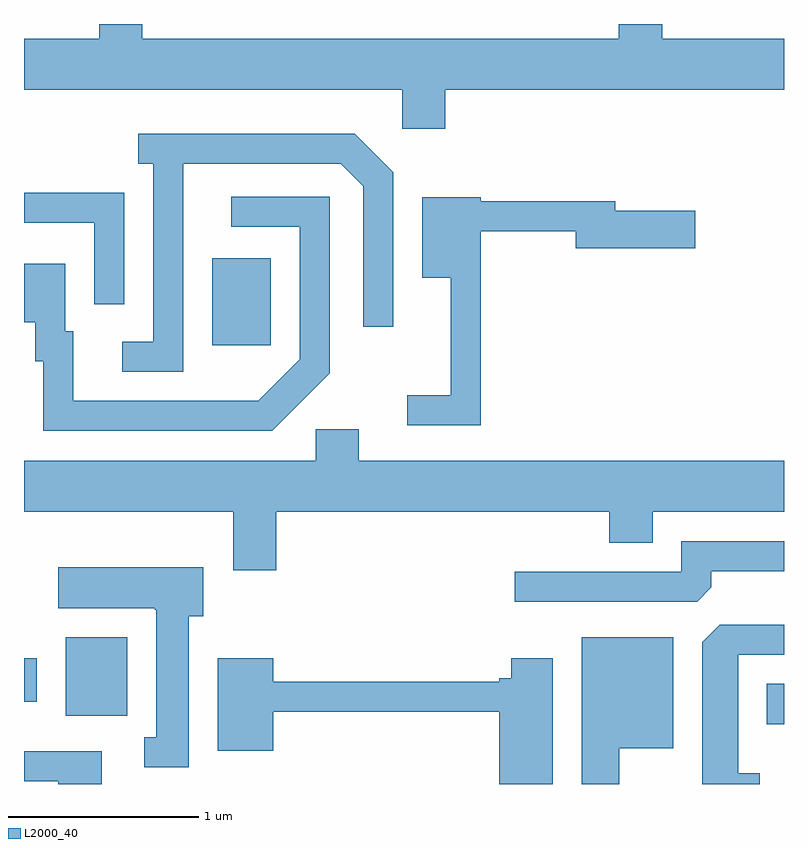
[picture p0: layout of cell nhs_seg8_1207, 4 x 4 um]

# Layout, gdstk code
import gdstk
lib = gdstk.Library(unit=1e-6, precision=1e-09)
def R(c, l, rs):  # rectangles x0, y0, x1, y1
    for r in rs: c.add(gdstk.rectangle(r[:2], r[2:], *l))
def P(c, l, *ps):  # polygons
    for p in ps: c.add(gdstk.Polygon(p, *l))
L2000_40 = (2000, 40)

nhs_seg8_1207 = lib.new_cell('nhs_seg8_1207')
R(nhs_seg8_1207, L2000_40, [(225.521,1808.656,225.611,1808.869), (221.831,1808.701,222.154,1809.114), (221.611,1808.776,221.679,1809.004), (222.601,1810.651,222.909,1811.109)])
P(nhs_seg8_1207, L2000_40, [(223.829,1811.996),(225.611,1811.996),(225.611,1812.264),(224.969,1812.264),(224.969,1812.342),(224.741,1812.342),(224.741,1812.264),(222.234,1812.264),(222.234,1812.342),(222.006,1812.342),(222.006,1812.264),(221.611,1812.264),(221.611,1811.996),(223.601,1811.996),(223.601,1811.791),(223.829,1811.791)],
  [(222.449,1811.606),(223.279,1811.606),(223.396,1811.489),(223.396,1810.748),(223.554,1810.748),(223.554,1811.562),(223.352,1811.764),(222.213,1811.764),(222.213,1811.606),(222.291,1811.606),(222.291,1810.669),(222.128,1810.669),(222.128,1810.511),(222.449,1810.511)],
  [(222.139,1811.454),(221.611,1811.454),(221.611,1811.296),(221.981,1811.296),(221.981,1810.868),(222.139,1810.868)],
  [(223.219,1810.504),(223.219,1811.434),(222.703,1811.434),(222.703,1811.276),(223.061,1811.276),(223.061,1810.577),(222.844,1810.359),(221.869,1810.359),(221.869,1810.724),(221.829,1810.724),(221.829,1811.079),(221.611,1811.079),(221.611,1810.771),(221.671,1810.771),(221.671,1810.566),(221.711,1810.566),(221.711,1810.201),(222.917,1810.201)],
  [(224.014,1811.251),(224.516,1811.251),(224.516,1811.161),(225.144,1811.161),(225.144,1811.359),(224.724,1811.359),(224.724,1811.409),(224.014,1811.409),(224.014,1811.429),(223.706,1811.429),(223.706,1811.006),(223.856,1811.006),(223.856,1810.389),(223.628,1810.389),(223.628,1810.231),(224.014,1810.231)],
  [(222.939,1809.776),(224.691,1809.776),(224.691,1809.611),(224.919,1809.611),(224.919,1809.776),(225.611,1809.776),(225.611,1810.044),(223.374,1810.044),(223.374,1810.209),(223.146,1810.209),(223.146,1810.044),(221.611,1810.044),(221.611,1809.776),(222.711,1809.776),(222.711,1809.466),(222.939,1809.466)],
  [(225.229,1809.377),(225.229,1809.461),(225.611,1809.461),(225.611,1809.619),(225.071,1809.619),(225.071,1809.459),(224.193,1809.459),(224.193,1809.301),(225.154,1809.301)],
  [(222.479,1809.226),(222.554,1809.226),(222.554,1809.484),(221.791,1809.484),(221.791,1809.266),(222.3,1809.266),(222.3,1809.26),(222.306,1809.26),(222.306,1808.589),(222.243,1808.589),(222.243,1808.431),(222.479,1808.431)],
  [(225.484,1808.399),(225.369,1808.399),(225.369,1809.021),(225.611,1809.021),(225.611,1809.179),(225.272,1809.179),(225.181,1809.089),(225.181,1808.342),(225.484,1808.342)],
  [(224.744,1808.531),(225.029,1808.531),(225.029,1809.114),(224.546,1809.114),(224.546,1808.342),(224.744,1808.342)],
  [(224.394,1809.004),(224.176,1809.004),(224.176,1808.899),(224.111,1808.899),(224.111,1808.879),(222.924,1808.879),(222.924,1809.004),(222.631,1809.004),(222.631,1808.516),(222.924,1808.516),(222.924,1808.721),(224.111,1808.721),(224.111,1808.342),(224.394,1808.342)],
  [(222.019,1808.514),(221.611,1808.514),(221.611,1808.356),(221.791,1808.356),(221.791,1808.342),(222.019,1808.342)])

lib.write_gds('nhs_seg8_1207.gds')
